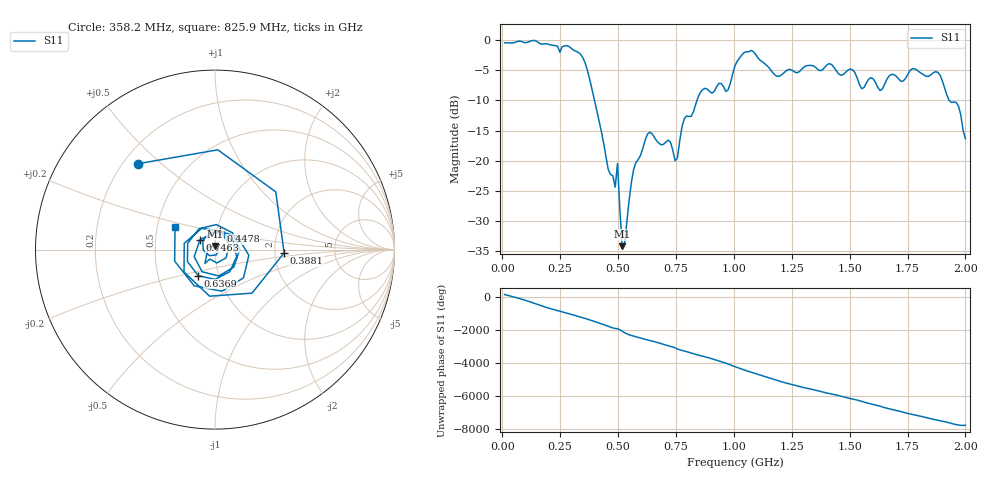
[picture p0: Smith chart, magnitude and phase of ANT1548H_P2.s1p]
!Created with skrf (http://scikit-rf.org).
# Hz S RI R 50.0
!freq ReS11 ImS11
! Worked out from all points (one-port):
!   201 points, 10 MHz to 2 GHz, reference 50 ohm
!   lowest |S11| = -34.1 dB at 517.5 MHz (marker M1), VSWR 1.04, Z = 50 + j1.97 ohm
!   |S11| at or under -10 dB: 398.4 MHz to 840.9 MHz (442.5 MHz wide, 71.4 % of centre); 1.93 GHz to end of sweep
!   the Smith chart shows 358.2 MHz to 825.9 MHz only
!   S11 on the Smith chart (normalised r, x): 358.2 MHz: 0.26, +0.42; 388.1 MHz: 2.25, -0.10; 447.8 MHz: 1.04, +0.22; 636.9 MHz: 0.80, -0.24; 746.3 MHz: 0.84, +0.09; 825.9 MHz: 0.62, +0.17
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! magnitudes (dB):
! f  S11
! 10 MHz  -0.5
! 258.8 MHz  -1.1
! 358.2 MHz  -3.9
! 388.1 MHz  -8.3
! 447.8 MHz  -19.4
! 487.6 MHz  -24.4
! 497.6 MHz  -20.4
! 507.5 MHz  -27.8
! 517.5 MHz  -34.1
! 527.4 MHz  -33.9
! 567.2 MHz  -21.4
! 636.9 MHz  -15.3
! 726.4 MHz  -16.9
! 746.3 MHz  -20.0
! 756.2 MHz  -19.5
! 786.1 MHz  -13.0
! 825.9 MHz  -11.8
! 865.7 MHz  -8.2
! 975.1 MHz  -8.3
! 1.005 GHz  -4.3
! 1.075 GHz  -1.7
! 1.254 GHz  -5.1
! 1.502 GHz  -4.8
! 1.632 GHz  -8.4
! 1.751 GHz  -5.7
! 1.881 GHz  -5.4
! 1.97 GHz  -10.9
! 2 GHz  -16.3
